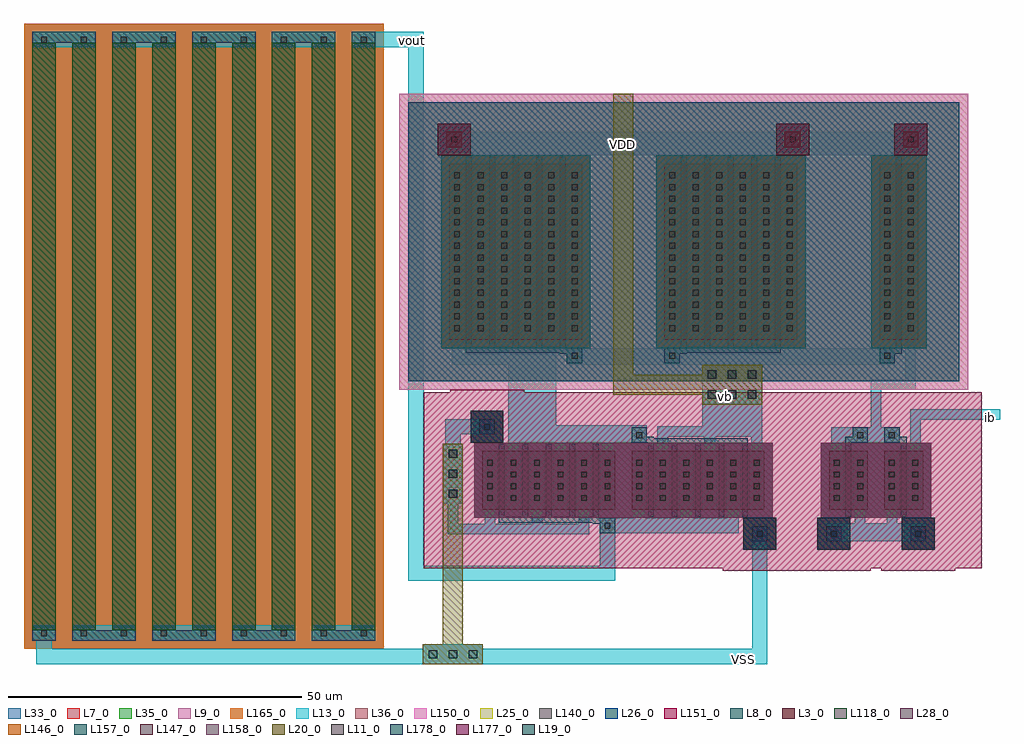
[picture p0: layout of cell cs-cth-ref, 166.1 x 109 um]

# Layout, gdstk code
from math import pi, radians
import gdstk
lib = gdstk.Library(unit=1e-6, precision=1e-07)
def R(c, l, rs):  # rectangles x0, y0, x1, y1
    for r in rs: c.add(gdstk.rectangle(r[:2], r[2:], *l))
def A(c, l, x, y, w, h, nx, ny, dx, dy):  # array of equal rectangles
    R(c, l, [(x+i*dx, y+j*dy, x+i*dx+w, y+j*dy+h) for i in range(nx) for j in range(ny)])
L3_0 = (3, 0)
L7_0 = (7, 0)
L8_0 = (8, 0)
L9_0 = (9, 0)
L11_0 = (11, 0)
L13_0 = (13, 0)
L19_0 = (19, 0)
L20_0 = (20, 0)
L25_0 = (25, 0)
L26_0 = (26, 0)
L28_0 = (28, 0)
L33_0 = (33, 0)
L35_0 = (35, 0)
L36_0 = (36, 0)
L118_0 = (118, 0)
L140_0 = (140, 0)
L146_0 = (146, 0)
L147_0 = (147, 0)
L150_0 = (150, 0)
L151_0 = (151, 0)
L157_0 = (157, 0)
L158_0 = (158, 0)
L165_0 = (165, 0)
L177_0 = (177, 0)
L178_0 = (178, 0)

dcont = lib.new_cell('dcont')
R(dcont, L3_0, [(-1.3,-1.3,1.3,1.3)])
R(dcont, L11_0, [(-0.5,-0.5,0.5,0.5)])
R(dcont, L13_0, [(-1.3,-1.3,1.3,1.3), (-0.5,-0.5,0.5,0.5)])

pcont = lib.new_cell('pcont')
R(pcont, L8_0, [(-1.3,-1.3,1.3,1.3)])
R(pcont, L11_0, [(-0.5,-0.5,0.5,0.5)])
R(pcont, L13_0, [(-1.3,-1.3,1.3,1.3), (-0.5,-0.5,0.5,0.5)])

c_dcont = lib.new_cell('DCONT')
R(c_dcont, L3_0, [(-1.3,-1.3,1.3,1.3)])
R(c_dcont, L11_0, [(-0.5,-0.5,0.5,0.5)])
R(c_dcont, L13_0, [(-1.3,-1.3,1.3,1.3), (-0.5,-0.5,0.5,0.5)])

psubcont = lib.new_cell('psubcont')
R(psubcont, L7_0, [(-2.8,-2.7,2.8,2.7)])
R(psubcont, L28_0, [(-2.8,-2.7,2.8,2.7)])
R(psubcont, L33_0, [(-2.8,-2.7,2.8,2.7)])
R(psubcont, L35_0, [(-2.8,-2.7,2.8,2.7)])
R(psubcont, L151_0, [(-6.3,-6.3,6.3,6.3)])
R(psubcont, L178_0, [(-2.8,-2.7,2.8,2.7)])
psubcont.add(gdstk.Reference(c_dcont, (0,0)))

c_mn = lib.new_cell('MN')
R(c_mn, L3_0, [(0,3.6,6.6,13.6)])
R(c_mn, L9_0, [(-1.4,2.2,8,15)])
R(c_mn, L33_0, [(-1.4,2.2,8,15)])
R(c_mn, L35_0, [(-1.4,2.2,8,15)])
R(c_mn, L147_0, [(-1.4,2.2,8,15)])
R(c_mn, L151_0, [(-10,-6.4,16.6,23.6)])
R(c_mn, L158_0, [(-1.4,2.2,8,15)])
c_mn.add(gdstk.FlexPath([(1.3,3.6),(1.3,13.6)], 2.6, ends="flush", simple_path=True, layer=13, datatype=0))  # L13_0
c_mn.add(gdstk.FlexPath([(5.3,3.6),(5.3,13.6)], 2.6, ends="flush", simple_path=True, layer=13, datatype=0))  # L13_0
c_mn.add(gdstk.FlexPath([(1.3,1.3),(1.3,4.6)], 1.8, ends="flush", simple_path=True, layer=13, datatype=0))  # L13_0
c_mn.add(gdstk.FlexPath([(5.3,12.6),(5.3,15.9)], 1.8, ends="flush", simple_path=True, layer=13, datatype=0))  # L13_0
c_mn.add(gdstk.FlexPath([(3.3,3.6),(3.3,13.6)], 1, ends=(1.2, 1.2), simple_path=True, layer=8, datatype=0))  # L8_0
c_mn.add(gdstk.FlexPath([(1.3,15.5),(3.3,15.5),(3.3,14.8)], 1, ends="flush", simple_path=True, layer=8, datatype=0))  # L8_0
c_mn.add(gdstk.Reference(dcont, (1.3,5.6)))
c_mn.add(gdstk.Reference(dcont, (1.3,7.6)))
c_mn.add(gdstk.Reference(dcont, (1.3,9.6)))
c_mn.add(gdstk.Reference(dcont, (1.3,11.6)))
c_mn.add(gdstk.Reference(dcont, (5.3,5.6)))
c_mn.add(gdstk.Reference(dcont, (5.3,7.6)))
c_mn.add(gdstk.Reference(dcont, (5.3,9.6)))
c_mn.add(gdstk.Reference(dcont, (5.3,11.6)))
c_mn.add(gdstk.Reference(pcont, (1.3,16.3)))
c_mn.add(gdstk.Reference(psubcont, (5.8,-0.5)))

nsubcont = lib.new_cell('nsubcont')
R(nsubcont, L7_0, [(-2.8,-2.7,2.8,2.7)])
R(nsubcont, L9_0, [(-2.8,-2.7,2.8,2.7)])
R(nsubcont, L25_0, [(-6.3,-6.3,6.3,6.3)])
R(nsubcont, L26_0, [(-6.3,-6.3,6.3,6.3)])
R(nsubcont, L33_0, [(-2.8,-2.7,2.8,2.7)])
R(nsubcont, L35_0, [(-2.8,-2.7,2.8,2.7)])
R(nsubcont, L36_0, [(-7.8,-7.8,7.8,7.8)])
R(nsubcont, L140_0, [(-6.3,-6.3,6.3,6.3)])
R(nsubcont, L150_0, [(-7.8,-7.8,7.8,7.8)])
R(nsubcont, L177_0, [(-2.8,-2.7,2.8,2.7)])
nsubcont.add(gdstk.Reference(c_dcont, (0,0)))

mp_1 = lib.new_cell('MP$1')
R(mp_1, L3_0, [(0,3.6,6.6,33.6)])
R(mp_1, L7_0, [(-1.4,2.2,8,35)])
R(mp_1, L25_0, [(-7,-3.4,13.6,40.6)])
R(mp_1, L26_0, [(-7,-3.4,13.6,40.6)])
R(mp_1, L28_0, [(-1.4,2.2,8,35)])
R(mp_1, L33_0, [(-1.4,2.2,8,35)])
R(mp_1, L36_0, [(-8.5,-4.9,15.1,42.1)])
R(mp_1, L140_0, [(-7,-3.4,13.6,40.6)])
R(mp_1, L146_0, [(-1.4,2.2,8,35)])
R(mp_1, L150_0, [(-8.5,-4.9,15.1,42.1)])
R(mp_1, L157_0, [(-1.4,2.2,8,35)])
mp_1.add(gdstk.FlexPath([(1.3,3.6),(1.3,33.6)], 2.6, ends="flush", simple_path=True, layer=13, datatype=0))  # L13_0
mp_1.add(gdstk.FlexPath([(5.3,3.6),(5.3,33.6)], 2.6, ends="flush", simple_path=True, layer=13, datatype=0))  # L13_0
mp_1.add(gdstk.FlexPath([(1.3,32.6),(1.3,35.9)], 1.8, ends="flush", simple_path=True, layer=13, datatype=0))  # L13_0
mp_1.add(gdstk.FlexPath([(5.3,1.3),(5.3,4.6)], 1.8, ends="flush", simple_path=True, layer=13, datatype=0))  # L13_0
mp_1.add(gdstk.FlexPath([(3.3,3.6),(3.3,33.6)], 1, ends=(1.2, 1.2), simple_path=True, layer=8, datatype=0))  # L8_0
mp_1.add(gdstk.FlexPath([(1.3,1.7),(3.3,1.7),(3.3,2.4)], 1, ends="flush", simple_path=True, layer=8, datatype=0))  # L8_0
mp_1.add(gdstk.Reference(dcont, (1.3,5.6)))
mp_1.add(gdstk.Reference(dcont, (1.3,7.6)))
mp_1.add(gdstk.Reference(dcont, (1.3,9.6)))
mp_1.add(gdstk.Reference(dcont, (1.3,11.6)))
mp_1.add(gdstk.Reference(dcont, (1.3,13.6)))
mp_1.add(gdstk.Reference(dcont, (1.3,15.6)))
mp_1.add(gdstk.Reference(dcont, (1.3,17.6)))
mp_1.add(gdstk.Reference(dcont, (1.3,19.6)))
mp_1.add(gdstk.Reference(dcont, (1.3,21.6)))
mp_1.add(gdstk.Reference(dcont, (1.3,23.6)))
mp_1.add(gdstk.Reference(dcont, (1.3,25.6)))
mp_1.add(gdstk.Reference(dcont, (1.3,27.6)))
mp_1.add(gdstk.Reference(dcont, (1.3,29.6)))
mp_1.add(gdstk.Reference(dcont, (1.3,31.6)))
mp_1.add(gdstk.Reference(dcont, (5.3,5.6)))
mp_1.add(gdstk.Reference(dcont, (5.3,7.6)))
mp_1.add(gdstk.Reference(dcont, (5.3,9.6)))
mp_1.add(gdstk.Reference(dcont, (5.3,11.6)))
mp_1.add(gdstk.Reference(dcont, (5.3,13.6)))
mp_1.add(gdstk.Reference(dcont, (5.3,15.6)))
mp_1.add(gdstk.Reference(dcont, (5.3,17.6)))
mp_1.add(gdstk.Reference(dcont, (5.3,19.6)))
mp_1.add(gdstk.Reference(dcont, (5.3,21.6)))
mp_1.add(gdstk.Reference(dcont, (5.3,23.6)))
mp_1.add(gdstk.Reference(dcont, (5.3,25.6)))
mp_1.add(gdstk.Reference(dcont, (5.3,27.6)))
mp_1.add(gdstk.Reference(dcont, (5.3,29.6)))
mp_1.add(gdstk.Reference(dcont, (5.3,31.6)))
mp_1.add(gdstk.Reference(pcont, (1.3,0.9)))
mp_1.add(gdstk.Reference(nsubcont, (5.3,37.7)))

mn_1 = lib.new_cell('MN$1')
R(mn_1, L3_0, [(0,3.6,22.6,13.6)])
R(mn_1, L9_0, [(-1.4,2.2,24,15)])
R(mn_1, L33_0, [(-1.4,2.2,24,15)])
R(mn_1, L35_0, [(-1.4,2.2,24,15)])
R(mn_1, L147_0, [(-1.4,2.2,24,15)])
R(mn_1, L151_0, [(-10,-6.4,32.6,23.6)])
R(mn_1, L158_0, [(-1.4,2.2,24,15)])
mn_1.add(gdstk.FlexPath([(1.3,3.6),(1.3,13.6)], 2.6, ends="flush", simple_path=True, layer=13, datatype=0))  # L13_0
mn_1.add(gdstk.FlexPath([(5.3,3.6),(5.3,13.6)], 2.6, ends="flush", simple_path=True, layer=13, datatype=0))  # L13_0
mn_1.add(gdstk.FlexPath([(9.3,3.6),(9.3,13.6)], 2.6, ends="flush", simple_path=True, layer=13, datatype=0))  # L13_0
mn_1.add(gdstk.FlexPath([(13.3,3.6),(13.3,13.6)], 2.6, ends="flush", simple_path=True, layer=13, datatype=0))  # L13_0
mn_1.add(gdstk.FlexPath([(17.3,3.6),(17.3,13.6)], 2.6, ends="flush", simple_path=True, layer=13, datatype=0))  # L13_0
mn_1.add(gdstk.FlexPath([(21.3,3.6),(21.3,13.6)], 2.6, ends="flush", simple_path=True, layer=13, datatype=0))  # L13_0
mn_1.add(gdstk.FlexPath([(1.3,1.3),(1.3,4.6)], 1.8, ends="flush", simple_path=True, layer=13, datatype=0))  # L13_0
mn_1.add(gdstk.FlexPath([(5.3,12.6),(5.3,16.9)], 1.8, ends="flush", simple_path=True, layer=13, datatype=0))  # L13_0
mn_1.add(gdstk.FlexPath([(9.3,1.3),(9.3,4.6)], 1.8, ends="flush", simple_path=True, layer=13, datatype=0))  # L13_0
mn_1.add(gdstk.FlexPath([(1.3,1.3),(9.3,1.3)], 1.8, ends="extended", simple_path=True, layer=13, datatype=0))  # L13_0
mn_1.add(gdstk.FlexPath([(13.3,12.6),(13.3,16.9)], 1.8, ends="flush", simple_path=True, layer=13, datatype=0))  # L13_0
mn_1.add(gdstk.FlexPath([(5.3,16.9),(13.3,16.9)], 1.8, ends="extended", simple_path=True, layer=13, datatype=0))  # L13_0
mn_1.add(gdstk.FlexPath([(17.3,1.3),(17.3,4.6)], 1.8, ends="flush", simple_path=True, layer=13, datatype=0))  # L13_0
mn_1.add(gdstk.FlexPath([(9.3,1.3),(17.3,1.3)], 1.8, ends="extended", simple_path=True, layer=13, datatype=0))  # L13_0
mn_1.add(gdstk.FlexPath([(21.3,12.6),(21.3,16.9)], 1.8, ends="flush", simple_path=True, layer=13, datatype=0))  # L13_0
mn_1.add(gdstk.FlexPath([(13.3,16.9),(21.3,16.9)], 1.8, ends="extended", simple_path=True, layer=13, datatype=0))  # L13_0
mn_1.add(gdstk.FlexPath([(3.3,3.6),(3.3,13.6)], 1, ends=(1.2, 1.2), simple_path=True, layer=8, datatype=0))  # L8_0
mn_1.add(gdstk.FlexPath([(7.3,3.6),(7.3,13.6)], 1, ends=(1.2, 1.2), simple_path=True, layer=8, datatype=0))  # L8_0
mn_1.add(gdstk.FlexPath([(11.3,3.6),(11.3,13.6)], 1, ends=(1.2, 1.2), simple_path=True, layer=8, datatype=0))  # L8_0
mn_1.add(gdstk.FlexPath([(15.3,3.6),(15.3,13.6)], 1, ends=(1.2, 1.2), simple_path=True, layer=8, datatype=0))  # L8_0
mn_1.add(gdstk.FlexPath([(19.3,3.6),(19.3,13.6)], 1, ends=(1.2, 1.2), simple_path=True, layer=8, datatype=0))  # L8_0
mn_1.add(gdstk.FlexPath([(1.3,15.5),(3.3,15.5),(3.3,14.8)], 1, ends="flush", simple_path=True, layer=8, datatype=0))  # L8_0
mn_1.add(gdstk.FlexPath([(2.8,15.3),(7.8,15.3)], 1, ends="flush", simple_path=True, layer=8, datatype=0))  # L8_0
mn_1.add(gdstk.FlexPath([(6.8,15.3),(11.8,15.3)], 1, ends="flush", simple_path=True, layer=8, datatype=0))  # L8_0
mn_1.add(gdstk.FlexPath([(10.8,15.3),(15.8,15.3)], 1, ends="flush", simple_path=True, layer=8, datatype=0))  # L8_0
mn_1.add(gdstk.FlexPath([(14.8,15.3),(19.8,15.3)], 1, ends="flush", simple_path=True, layer=8, datatype=0))  # L8_0
mn_1.add(gdstk.Reference(dcont, (1.3,5.6)))
mn_1.add(gdstk.Reference(dcont, (1.3,7.6)))
mn_1.add(gdstk.Reference(dcont, (1.3,9.6)))
mn_1.add(gdstk.Reference(dcont, (1.3,11.6)))
mn_1.add(gdstk.Reference(dcont, (5.3,5.6)))
mn_1.add(gdstk.Reference(dcont, (5.3,7.6)))
mn_1.add(gdstk.Reference(dcont, (5.3,9.6)))
mn_1.add(gdstk.Reference(dcont, (5.3,11.6)))
mn_1.add(gdstk.Reference(dcont, (9.3,5.6)))
mn_1.add(gdstk.Reference(dcont, (9.3,7.6)))
mn_1.add(gdstk.Reference(dcont, (9.3,9.6)))
mn_1.add(gdstk.Reference(dcont, (9.3,11.6)))
mn_1.add(gdstk.Reference(dcont, (13.3,5.6)))
mn_1.add(gdstk.Reference(dcont, (13.3,7.6)))
mn_1.add(gdstk.Reference(dcont, (13.3,9.6)))
mn_1.add(gdstk.Reference(dcont, (13.3,11.6)))
mn_1.add(gdstk.Reference(dcont, (17.3,5.6)))
mn_1.add(gdstk.Reference(dcont, (17.3,7.6)))
mn_1.add(gdstk.Reference(dcont, (17.3,9.6)))
mn_1.add(gdstk.Reference(dcont, (17.3,11.6)))
mn_1.add(gdstk.Reference(dcont, (21.3,5.6)))
mn_1.add(gdstk.Reference(dcont, (21.3,7.6)))
mn_1.add(gdstk.Reference(dcont, (21.3,9.6)))
mn_1.add(gdstk.Reference(dcont, (21.3,11.6)))
mn_1.add(gdstk.Reference(pcont, (1.3,16.3)))
mn_1.add(gdstk.Reference(psubcont, (21.8,-0.5)))

c_mp = lib.new_cell('MP')
R(c_mp, L3_0, [(0,3.6,22.6,33.6)])
R(c_mp, L7_0, [(-1.4,2.2,24,35)])
R(c_mp, L25_0, [(-7,-3.4,29.6,40.6)])
R(c_mp, L26_0, [(-7,-3.4,29.6,40.6)])
R(c_mp, L28_0, [(-1.4,2.2,24,35)])
R(c_mp, L33_0, [(-1.4,2.2,24,35)])
R(c_mp, L36_0, [(-8.5,-4.9,31.1,42.1)])
R(c_mp, L140_0, [(-7,-3.4,29.6,40.6)])
R(c_mp, L146_0, [(-1.4,2.2,24,35)])
R(c_mp, L150_0, [(-8.5,-4.9,31.1,42.1)])
R(c_mp, L157_0, [(-1.4,2.2,24,35)])
c_mp.add(gdstk.FlexPath([(1.3,3.6),(1.3,33.6)], 2.6, ends="flush", simple_path=True, layer=13, datatype=0))  # L13_0
c_mp.add(gdstk.FlexPath([(5.3,3.6),(5.3,33.6)], 2.6, ends="flush", simple_path=True, layer=13, datatype=0))  # L13_0
c_mp.add(gdstk.FlexPath([(9.3,3.6),(9.3,33.6)], 2.6, ends="flush", simple_path=True, layer=13, datatype=0))  # L13_0
c_mp.add(gdstk.FlexPath([(13.3,3.6),(13.3,33.6)], 2.6, ends="flush", simple_path=True, layer=13, datatype=0))  # L13_0
c_mp.add(gdstk.FlexPath([(17.3,3.6),(17.3,33.6)], 2.6, ends="flush", simple_path=True, layer=13, datatype=0))  # L13_0
c_mp.add(gdstk.FlexPath([(21.3,3.6),(21.3,33.6)], 2.6, ends="flush", simple_path=True, layer=13, datatype=0))  # L13_0
c_mp.add(gdstk.FlexPath([(1.3,32.6),(1.3,35.9)], 1.8, ends="flush", simple_path=True, layer=13, datatype=0))  # L13_0
c_mp.add(gdstk.FlexPath([(5.3,0.3),(5.3,4.6)], 1.8, ends="flush", simple_path=True, layer=13, datatype=0))  # L13_0
c_mp.add(gdstk.FlexPath([(9.3,32.6),(9.3,35.9)], 1.8, ends="flush", simple_path=True, layer=13, datatype=0))  # L13_0
c_mp.add(gdstk.FlexPath([(1.3,35.9),(9.3,35.9)], 1.8, ends="extended", simple_path=True, layer=13, datatype=0))  # L13_0
c_mp.add(gdstk.FlexPath([(13.3,0.3),(13.3,4.6)], 1.8, ends="flush", simple_path=True, layer=13, datatype=0))  # L13_0
c_mp.add(gdstk.FlexPath([(5.3,0.3),(13.3,0.3)], 1.8, ends="extended", simple_path=True, layer=13, datatype=0))  # L13_0
c_mp.add(gdstk.FlexPath([(17.3,32.6),(17.3,35.9)], 1.8, ends="flush", simple_path=True, layer=13, datatype=0))  # L13_0
c_mp.add(gdstk.FlexPath([(9.3,35.9),(17.3,35.9)], 1.8, ends="extended", simple_path=True, layer=13, datatype=0))  # L13_0
c_mp.add(gdstk.FlexPath([(21.3,0.3),(21.3,4.6)], 1.8, ends="flush", simple_path=True, layer=13, datatype=0))  # L13_0
c_mp.add(gdstk.FlexPath([(13.3,0.3),(21.3,0.3)], 1.8, ends="extended", simple_path=True, layer=13, datatype=0))  # L13_0
c_mp.add(gdstk.FlexPath([(3.3,3.6),(3.3,33.6)], 1, ends=(1.2, 1.2), simple_path=True, layer=8, datatype=0))  # L8_0
c_mp.add(gdstk.FlexPath([(7.3,3.6),(7.3,33.6)], 1, ends=(1.2, 1.2), simple_path=True, layer=8, datatype=0))  # L8_0
c_mp.add(gdstk.FlexPath([(11.3,3.6),(11.3,33.6)], 1, ends=(1.2, 1.2), simple_path=True, layer=8, datatype=0))  # L8_0
c_mp.add(gdstk.FlexPath([(15.3,3.6),(15.3,33.6)], 1, ends=(1.2, 1.2), simple_path=True, layer=8, datatype=0))  # L8_0
c_mp.add(gdstk.FlexPath([(19.3,3.6),(19.3,33.6)], 1, ends=(1.2, 1.2), simple_path=True, layer=8, datatype=0))  # L8_0
c_mp.add(gdstk.FlexPath([(1.3,1.7),(3.3,1.7),(3.3,2.4)], 1, ends="flush", simple_path=True, layer=8, datatype=0))  # L8_0
c_mp.add(gdstk.FlexPath([(2.8,1.9),(7.8,1.9)], 1, ends="flush", simple_path=True, layer=8, datatype=0))  # L8_0
c_mp.add(gdstk.FlexPath([(6.8,1.9),(11.8,1.9)], 1, ends="flush", simple_path=True, layer=8, datatype=0))  # L8_0
c_mp.add(gdstk.FlexPath([(10.8,1.9),(15.8,1.9)], 1, ends="flush", simple_path=True, layer=8, datatype=0))  # L8_0
c_mp.add(gdstk.FlexPath([(14.8,1.9),(19.8,1.9)], 1, ends="flush", simple_path=True, layer=8, datatype=0))  # L8_0
c_mp.add(gdstk.Reference(dcont, (1.3,5.6)))
c_mp.add(gdstk.Reference(dcont, (1.3,7.6)))
c_mp.add(gdstk.Reference(dcont, (1.3,9.6)))
c_mp.add(gdstk.Reference(dcont, (1.3,11.6)))
c_mp.add(gdstk.Reference(dcont, (1.3,13.6)))
c_mp.add(gdstk.Reference(dcont, (1.3,15.6)))
c_mp.add(gdstk.Reference(dcont, (1.3,17.6)))
c_mp.add(gdstk.Reference(dcont, (1.3,19.6)))
c_mp.add(gdstk.Reference(dcont, (1.3,21.6)))
c_mp.add(gdstk.Reference(dcont, (1.3,23.6)))
c_mp.add(gdstk.Reference(dcont, (1.3,25.6)))
c_mp.add(gdstk.Reference(dcont, (1.3,27.6)))
c_mp.add(gdstk.Reference(dcont, (1.3,29.6)))
c_mp.add(gdstk.Reference(dcont, (1.3,31.6)))
c_mp.add(gdstk.Reference(dcont, (5.3,5.6)))
c_mp.add(gdstk.Reference(dcont, (5.3,7.6)))
c_mp.add(gdstk.Reference(dcont, (5.3,9.6)))
c_mp.add(gdstk.Reference(dcont, (5.3,11.6)))
c_mp.add(gdstk.Reference(dcont, (5.3,13.6)))
c_mp.add(gdstk.Reference(dcont, (5.3,15.6)))
c_mp.add(gdstk.Reference(dcont, (5.3,17.6)))
c_mp.add(gdstk.Reference(dcont, (5.3,19.6)))
c_mp.add(gdstk.Reference(dcont, (5.3,21.6)))
c_mp.add(gdstk.Reference(dcont, (5.3,23.6)))
c_mp.add(gdstk.Reference(dcont, (5.3,25.6)))
c_mp.add(gdstk.Reference(dcont, (5.3,27.6)))
c_mp.add(gdstk.Reference(dcont, (5.3,29.6)))
c_mp.add(gdstk.Reference(dcont, (5.3,31.6)))
c_mp.add(gdstk.Reference(dcont, (9.3,5.6)))
c_mp.add(gdstk.Reference(dcont, (9.3,7.6)))
c_mp.add(gdstk.Reference(dcont, (9.3,9.6)))
c_mp.add(gdstk.Reference(dcont, (9.3,11.6)))
c_mp.add(gdstk.Reference(dcont, (9.3,13.6)))
c_mp.add(gdstk.Reference(dcont, (9.3,15.6)))
c_mp.add(gdstk.Reference(dcont, (9.3,17.6)))
c_mp.add(gdstk.Reference(dcont, (9.3,19.6)))
c_mp.add(gdstk.Reference(dcont, (9.3,21.6)))
c_mp.add(gdstk.Reference(dcont, (9.3,23.6)))
c_mp.add(gdstk.Reference(dcont, (9.3,25.6)))
c_mp.add(gdstk.Reference(dcont, (9.3,27.6)))
c_mp.add(gdstk.Reference(dcont, (9.3,29.6)))
c_mp.add(gdstk.Reference(dcont, (9.3,31.6)))
c_mp.add(gdstk.Reference(dcont, (13.3,5.6)))
c_mp.add(gdstk.Reference(dcont, (13.3,7.6)))
c_mp.add(gdstk.Reference(dcont, (13.3,9.6)))
c_mp.add(gdstk.Reference(dcont, (13.3,11.6)))
c_mp.add(gdstk.Reference(dcont, (13.3,13.6)))
c_mp.add(gdstk.Reference(dcont, (13.3,15.6)))
c_mp.add(gdstk.Reference(dcont, (13.3,17.6)))
c_mp.add(gdstk.Reference(dcont, (13.3,19.6)))
c_mp.add(gdstk.Reference(dcont, (13.3,21.6)))
c_mp.add(gdstk.Reference(dcont, (13.3,23.6)))
c_mp.add(gdstk.Reference(dcont, (13.3,25.6)))
c_mp.add(gdstk.Reference(dcont, (13.3,27.6)))
c_mp.add(gdstk.Reference(dcont, (13.3,29.6)))
c_mp.add(gdstk.Reference(dcont, (13.3,31.6)))
c_mp.add(gdstk.Reference(dcont, (17.3,5.6)))
c_mp.add(gdstk.Reference(dcont, (17.3,7.6)))
c_mp.add(gdstk.Reference(dcont, (17.3,9.6)))
c_mp.add(gdstk.Reference(dcont, (17.3,11.6)))
c_mp.add(gdstk.Reference(dcont, (17.3,13.6)))
c_mp.add(gdstk.Reference(dcont, (17.3,15.6)))
c_mp.add(gdstk.Reference(dcont, (17.3,17.6)))
c_mp.add(gdstk.Reference(dcont, (17.3,19.6)))
c_mp.add(gdstk.Reference(dcont, (17.3,21.6)))
c_mp.add(gdstk.Reference(dcont, (17.3,23.6)))
c_mp.add(gdstk.Reference(dcont, (17.3,25.6)))
c_mp.add(gdstk.Reference(dcont, (17.3,27.6)))
c_mp.add(gdstk.Reference(dcont, (17.3,29.6)))
c_mp.add(gdstk.Reference(dcont, (17.3,31.6)))
c_mp.add(gdstk.Reference(dcont, (21.3,5.6)))
c_mp.add(gdstk.Reference(dcont, (21.3,7.6)))
c_mp.add(gdstk.Reference(dcont, (21.3,9.6)))
c_mp.add(gdstk.Reference(dcont, (21.3,11.6)))
c_mp.add(gdstk.Reference(dcont, (21.3,13.6)))
c_mp.add(gdstk.Reference(dcont, (21.3,15.6)))
c_mp.add(gdstk.Reference(dcont, (21.3,17.6)))
c_mp.add(gdstk.Reference(dcont, (21.3,19.6)))
c_mp.add(gdstk.Reference(dcont, (21.3,21.6)))
c_mp.add(gdstk.Reference(dcont, (21.3,23.6)))
c_mp.add(gdstk.Reference(dcont, (21.3,25.6)))
c_mp.add(gdstk.Reference(dcont, (21.3,27.6)))
c_mp.add(gdstk.Reference(dcont, (21.3,29.6)))
c_mp.add(gdstk.Reference(dcont, (21.3,31.6)))
c_mp.add(gdstk.Reference(pcont, (1.3,0.9)))
c_mp.add(gdstk.Reference(nsubcont, (21.8,37.7)))

rs_1 = lib.new_cell('RS$1')
R(rs_1, L7_0, [(-1.4,-1.4,105,5.4)])
R(rs_1, L8_0, [(0,0,103.6,4)])
R(rs_1, L9_0, [(-1.4,-1.4,105,5.4)])
R(rs_1, L11_0, [(0.8,1.5,1.8,2.5), (101.8,1.5,102.8,2.5)])
R(rs_1, L13_0, [(0,0,2.6,4), (101,0,103.6,4)])
R(rs_1, L33_0, [(-1.4,-1.4,105,5.4)])
R(rs_1, L35_0, [(-1.4,-1.4,105,5.4)])
R(rs_1, L118_0, [(1.8,0,101.8,4)])
R(rs_1, L165_0, [(-1.4,-1.4,105,5.4)])
rs_1.add(gdstk.Label('RS', (51.8,2), layer=118, texttype=0))

via = lib.new_cell('Via')
R(via, L13_0, [(-1.7,-1.7,1.7,1.7)])
R(via, L19_0, [(-0.7,-0.7,0.7,0.7)])
R(via, L20_0, [(-1.7,-1.7,1.7,1.7)])

cs_cth_ref = lib.new_cell('cs-cth-ref')
A(cs_cth_ref, L8_0, -214.2, -19.8, 10.8, 1.8, 4, 1, 13.6, 0)
A(cs_cth_ref, L8_0, -221, 82, 10.8, 1.8, 4, 1, 13.6, 0)
A(cs_cth_ref, L13_0, -214.2, -19.8, 10.8, 2.6, 4, 1, 13.6, 0)
A(cs_cth_ref, L13_0, -221, 81.2, 10.8, 2.6, 4, 1, 13.6, 0)
R(cs_cth_ref, L13_0, [(-85.9,-2.9,-68.9,0.2), (-124.4,-1.5,-100.8,1.1), (-140,13.9,-131.8,29), (-131.8,13.9,-116.4,16.9), (-85,13.9,-81.4,16.5), (-81.4,13.9,-73.4,16.5), (-107,16.7,-96.8,27.2), (-130,27.2,-109,30), (-93,27.2,-74.2,30), (-130,27.4,-110.8,30), (-150.5,62.8,-70.2,66.8)])
R(cs_cth_ref, L25_0, [(-157,68.4,-63.2,71.8)])
R(cs_cth_ref, L26_0, [(-157,68.4,-63.2,71.8)])
R(cs_cth_ref, L36_0, [(-158.5,69.9,-61.7,73.3)])
R(cs_cth_ref, L140_0, [(-157,68.4,-63.2,71.8)])
R(cs_cth_ref, L150_0, [(-158.5,69.9,-61.7,73.3)])
cs_cth_ref.add(gdstk.FlexPath([(-149.4,7.4),(-149.4,-0.8),(-142.2,-0.8)], 1.8, ends="flush", simple_path=True, layer=13, datatype=0))  # L13_0
cs_cth_ref.add(gdstk.FlexPath([(-164.1,82.5),(-155.7,82.5),(-155.7,-8.3),(-123.1,-8.3),(-123.1,1.1)], 2.6, ends="flush", simple_path=True, layer=13, datatype=0))  # L13_0
cs_cth_ref.add(gdstk.FlexPath([(-219,-18.5),(-219,-22.5),(-97.2,-22.5),(-97.2,-0.3)], 2.6, ends="flush", simple_path=True, layer=13, datatype=0))  # L13_0
cs_cth_ref.add(gdstk.FlexPath([(-142.3,16.6),(-149.4,16.6),(-149.4,6.9)], 2.6, ends="flush", simple_path=True, layer=13, datatype=0))  # L13_0
cs_cth_ref.add(gdstk.FlexPath([(-71.5,29.2),(-71.5,23.8),(-77.4,23.8),(-77.4,14.2)], 1.8, ends="flush", simple_path=True, layer=13, datatype=0))  # L13_0
cs_cth_ref.add(gdstk.FlexPath([(-75.5,63.4),(-75.5,65.5),(-70.2,65.5)], 1.8, ends="flush", simple_path=True, layer=13, datatype=0))  # L13_0
cs_cth_ref.add(gdstk.FlexPath([(-70.7,14.4),(-70.7,18.7),(-56.3,18.7)], 1.8, ends="flush", simple_path=True, layer=13, datatype=0))  # L13_0
cs_cth_ref.add(gdstk.FlexPath([(-103.6,23.8),(-120.4,23.8),(-120.4,73.3)], 3.4, ends="flush", simple_path=True, layer=20, datatype=0))  # L20_0
cs_cth_ref.add(gdstk.FlexPath([(-149.4,8.6),(-149.4,-22.9)], 3.4, ends="flush", simple_path=True, layer=20, datatype=0))  # L20_0
cs_cth_ref.add(gdstk.Reference(c_mn, (-78.8,-1.1), rotation=pi, x_reflection=True))
cs_cth_ref.add(gdstk.Reference(c_mn, (-76,-1.1)))
cs_cth_ref.add(gdstk.Reference(mp_1, (-76.8,27.8)))
cs_cth_ref.add(gdstk.Reference(mn_1, (-119,-1.1)))
cs_cth_ref.add(gdstk.Reference(c_mp, (-113.4,27.8)))
cs_cth_ref.add(gdstk.Reference(c_mp, (-127.4,27.8), rotation=pi, x_reflection=True))
cs_cth_ref.add(gdstk.Reference(rs_1, (-217,-19.8), rotation=pi/2))
cs_cth_ref.add(gdstk.Reference(rs_1, (-210.2,-19.8), rotation=pi/2))
cs_cth_ref.add(gdstk.Reference(rs_1, (-203.4,-19.8), rotation=pi/2))
cs_cth_ref.add(gdstk.Reference(rs_1, (-196.6,-19.8), rotation=pi/2))
cs_cth_ref.add(gdstk.Reference(rs_1, (-189.8,-19.8), rotation=pi/2))
cs_cth_ref.add(gdstk.Reference(rs_1, (-183,-19.8), rotation=pi/2))
cs_cth_ref.add(gdstk.Reference(rs_1, (-176.2,-19.8), rotation=pi/2))
cs_cth_ref.add(gdstk.Reference(rs_1, (-169.4,-19.8), rotation=pi/2))
cs_cth_ref.add(gdstk.Reference(rs_1, (-162.6,-19.8), rotation=pi/2))
cs_cth_ref.add(gdstk.Reference(mn_1, (-121.8,16.1), rotation=pi))
cs_cth_ref.add(gdstk.Reference(via, (-149.4,8.6)))
cs_cth_ref.add(gdstk.Reference(via, (-149.4,-22.1)))
cs_cth_ref.add(gdstk.Reference(via, (-149.4,12)))
cs_cth_ref.add(gdstk.Reference(via, (-149.4,5.2)))
cs_cth_ref.add(gdstk.Reference(via, (-152.8,-22.1)))
cs_cth_ref.add(gdstk.Reference(via, (-146,-22.1)))
cs_cth_ref.add(gdstk.Reference(via, (-98.5,25.5)))
cs_cth_ref.add(gdstk.Reference(via, (-101.9,25.5)))
cs_cth_ref.add(gdstk.Reference(via, (-105.3,25.5)))
cs_cth_ref.add(gdstk.Reference(via, (-98.5,22.1)))
cs_cth_ref.add(gdstk.Reference(via, (-101.9,22.1)))
cs_cth_ref.add(gdstk.Reference(via, (-105.3,22.1)))
cs_cth_ref.add(gdstk.Label('vout', (-156.2,82.4), layer=13, texttype=0))
cs_cth_ref.add(gdstk.Label('vb', (-103,21.8), layer=13, texttype=0))
cs_cth_ref.add(gdstk.Label('ib', (-58,18.2), layer=13, texttype=0))
cs_cth_ref.add(gdstk.Label('VDD', (-120.5,64.6), layer=13, texttype=0))
cs_cth_ref.add(gdstk.Label('VSS', (-99.9,-23), layer=13, texttype=0))

lib.write_gds('cs-cth-ref.gds')
